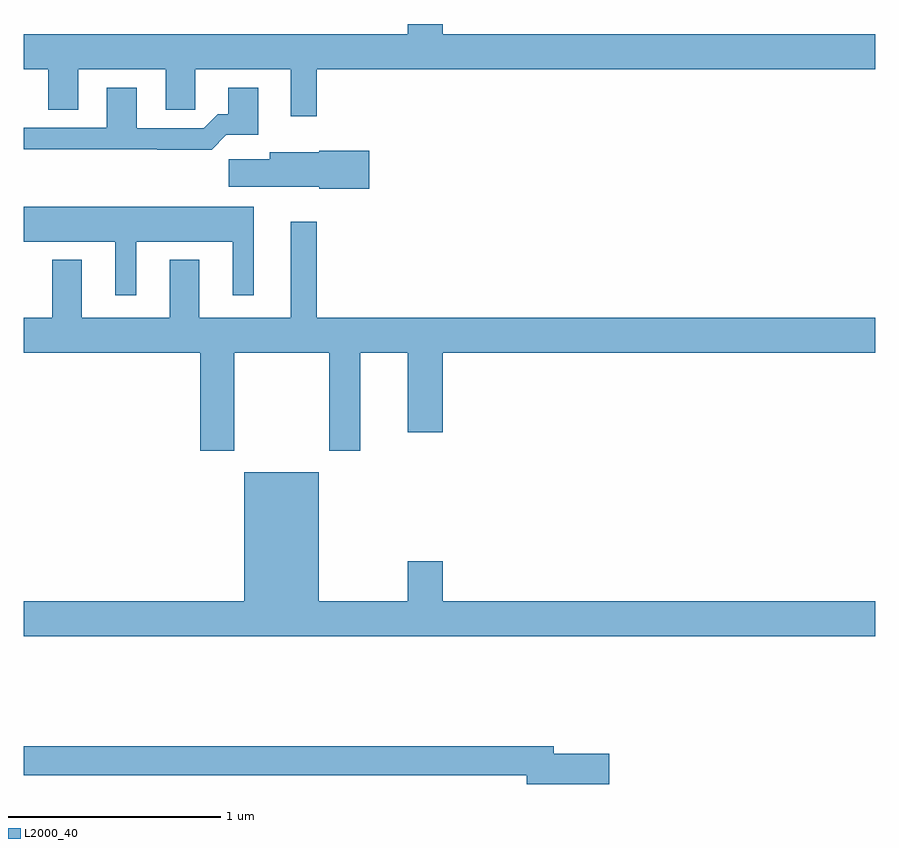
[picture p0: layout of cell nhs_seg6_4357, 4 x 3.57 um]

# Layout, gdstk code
import gdstk
lib = gdstk.Library(unit=1e-6, precision=1e-09)
def P(c, l, *ps):  # polygons
    for p in ps: c.add(gdstk.Polygon(p, *l))
L2000_40 = (2000, 40)

nhs_seg6_4357 = lib.new_cell('nhs_seg6_4357')
P(nhs_seg6_4357, L2000_40, [(368.377,995.288),(371,995.288),(371,995.452),(368.968,995.452),(368.968,995.5),(368.804,995.5),(368.804,995.452),(367,995.452),(367,995.288),(367.115,995.288),(367.115,995.098),(367.255,995.098),(367.255,995.288),(367.667,995.288),(367.667,995.098),(367.806,995.098),(367.806,995.288),(368.255,995.288),(368.255,995.067),(368.377,995.067)],
  [(367.952,994.979),(368.101,994.979),(368.101,995.2),(367.961,995.2),(367.961,995.077),(367.912,995.077),(367.845,995.01),(367.531,995.01),(367.531,995.2),(367.391,995.2),(367.391,995.013),(367,995.013),(367,994.912),(367.627,994.912),(367.627,994.91),(367.883,994.91)],
  [(368.623,994.905),(368.388,994.905),(368.388,994.897),(368.156,994.897),(368.156,994.865),(367.962,994.865),(367.962,994.736),(368.388,994.736),(368.388,994.727),(368.623,994.727)],
  [(367.528,994.478),(367.982,994.478),(367.982,994.227),(368.08,994.227),(368.08,994.642),(367,994.642),(367,994.478),(367.43,994.478),(367.43,994.227),(367.528,994.227)],
  [(367.989,993.956),(368.434,993.956),(368.434,993.495),(368.581,993.495),(368.581,993.956),(368.804,993.956),(368.804,993.582),(368.968,993.582),(368.968,993.956),(371,993.956),(371,994.12),(368.377,994.12),(368.377,994.57),(368.255,994.57),(368.255,994.12),(367.825,994.12),(367.825,994.393),(367.685,994.393),(367.685,994.12),(367.273,994.12),(367.273,994.393),(367.133,994.393),(367.133,994.12),(367,994.12),(367,993.956),(367.829,993.956),(367.829,993.495),(367.989,993.495)],
  [(371,992.788),(368.968,992.788),(368.968,992.977),(368.804,992.977),(368.804,992.788),(368.386,992.788),(368.386,993.394),(368.036,993.394),(368.036,992.788),(367,992.788),(367,992.624),(371,992.624)],
  [(369.751,992.072),(369.49,992.072),(369.49,992.108),(367,992.108),(367,991.972),(369.362,991.972),(369.362,991.93),(369.751,991.93)])

lib.write_gds('nhs_seg6_4357.gds')
